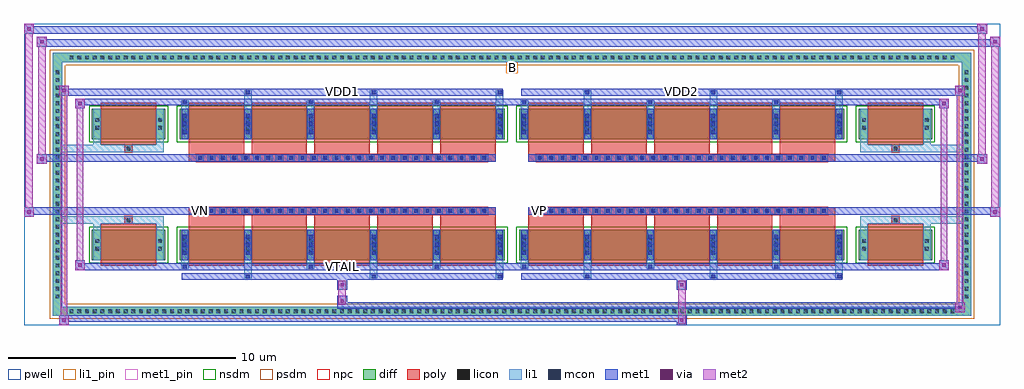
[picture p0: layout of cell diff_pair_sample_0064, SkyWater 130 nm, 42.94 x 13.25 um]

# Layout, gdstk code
import gdstk
lib = gdstk.Library(unit=1e-6, precision=5e-09)
def R(c, l, rs):  # rectangles x0, y0, x1, y1
    for r in rs: c.add(gdstk.rectangle(r[:2], r[2:], *l))
def A(c, l, x, y, w, h, nx, ny, dx, dy):  # array of equal rectangles
    R(c, l, [(x+i*dx, y+j*dy, x+i*dx+w, y+j*dy+h) for i in range(nx) for j in range(ny)])
def P(c, l, *ps):  # polygons
    for p in ps: c.add(gdstk.Polygon(p, *l))
pwell = (64, 44)
diff = (65, 20)
poly = (66, 20)
licon = (66, 44)
li1_pin = (67, 16)
li1 = (67, 20)
mcon = (67, 44)
met1_pin = (68, 16)
met1 = (68, 20)
via = (68, 44)
met2 = (69, 20)
nsdm = (93, 44)
psdm = (94, 20)
npc = (95, 20)

diff_pair_sample_0064 = lib.new_cell('diff_pair_sample_0064')
R(diff_pair_sample_0064, pwell, [(-21.47,-6.19,21.47,7.06), (-18.79,-4.38,-0.01,-0.8), (0.01,-4.38,18.79,-0.8), (-18.79,0.8,-0.01,4.38), (0.01,0.8,18.79,4.38)])
A(diff_pair_sample_0064, diff, -19.585, -5.79, 0.41, 0.41, 115, 2, 0.34, 11.17)
A(diff_pair_sample_0064, diff, -20.2, -5.135, 0.41, 0.41, 1, 30, 0, 0.34)
A(diff_pair_sample_0064, diff, 19.79, -5.135, 0.41, 0.41, 1, 30, 0, 0.34)
R(diff_pair_sample_0064, diff, [(-19.585,-5.79,19.585,-5.38), (-20.2,-5.135,-19.79,5.135), (19.79,-5.135,20.2,5.135), (-18.48,-3.335,-15.26,-1.985), (-14.62,-3.335,-0.32,-1.985), (0.32,-3.335,14.62,-1.985), (15.26,-3.335,18.48,-1.985), (-18.48,1.985,-15.26,3.335), (-14.62,1.985,-0.32,3.335), (0.32,1.985,14.62,3.335), (15.26,1.985,18.48,3.335), (-19.585,5.38,19.585,5.79)])
P(diff_pair_sample_0064, diff, [(20.2,5.79),(-20.2,5.79),(-20.2,-5.38),(-19.79,-5.38),(-19.79,5.38),(19.79,5.38),(19.79,-5.38),(-19.79,-5.38),(-20.2,-5.38),(-20.2,-5.79),(20.2,-5.79)])
A(diff_pair_sample_0064, poly, -14.23, -3.585, 2.44, 1.85, 5, 2, 2.77, 5.32)
A(diff_pair_sample_0064, poly, 0.71, -3.585, 2.44, 1.85, 5, 2, 2.77, 5.32)
A(diff_pair_sample_0064, poly, -14.23, -1.735, 2.44, 0.405, 5, 2, 2.77, 3.065)
A(diff_pair_sample_0064, poly, 0.71, -1.735, 2.44, 0.405, 5, 2, 2.77, 3.065)
A(diff_pair_sample_0064, poly, -13.885, -1.33, 0.33, 0.33, 26, 2, 0.5, 2.33)
A(diff_pair_sample_0064, poly, 1.055, -1.33, 0.33, 0.33, 26, 2, 0.5, 2.33)
R(diff_pair_sample_0064, poly, [(-18.09,-3.585,-15.65,-1.735), (15.65,-3.585,18.09,-1.735), (-17.035,-1.735,-16.705,-1.405), (-17.035,-1.735,-16.705,-1.405), (16.705,-1.735,17.035,-1.405), (16.705,-1.735,17.035,-1.405), (-14.23,-1.33,-0.71,-1), (0.71,-1.33,14.23,-1), (-14.23,1,-0.71,1.33), (0.71,1,14.23,1.33), (-17.035,1.405,-16.705,1.735), (-17.035,1.405,-16.705,1.735), (16.705,1.405,17.035,1.735), (16.705,1.405,17.035,1.735), (-18.09,1.735,-15.65,3.585), (15.65,1.735,18.09,3.585)])
A(diff_pair_sample_0064, licon, -19.465, -5.67, 0.17, 0.17, 115, 2, 0.34, 11.17)
A(diff_pair_sample_0064, licon, -20.08, -5.015, 0.17, 0.17, 1, 30, 0, 0.34)
A(diff_pair_sample_0064, licon, 19.91, -5.015, 0.17, 0.17, 1, 30, 0, 0.34)
A(diff_pair_sample_0064, licon, -14.48, -2.915, 0.17, 0.17, 6, 2, 2.77, 0.34)
A(diff_pair_sample_0064, licon, 0.46, -2.915, 0.17, 0.17, 6, 2, 2.77, 0.34)
A(diff_pair_sample_0064, licon, -13.805, -1.25, 0.17, 0.17, 26, 2, 0.5, 2.33)
A(diff_pair_sample_0064, licon, 1.135, -1.25, 0.17, 0.17, 26, 2, 0.5, 2.33)
A(diff_pair_sample_0064, licon, -14.48, 2.405, 0.17, 0.17, 6, 2, 2.77, 0.34)
A(diff_pair_sample_0064, licon, 0.46, 2.405, 0.17, 0.17, 6, 2, 2.77, 0.34)
R(diff_pair_sample_0064, licon, [(-18.34,-2.915,-18.17,-2.745), (-15.57,-2.915,-15.4,-2.745), (15.4,-2.915,15.57,-2.745), (18.17,-2.915,18.34,-2.745), (-18.34,-2.575,-18.17,-2.405), (-15.57,-2.575,-15.4,-2.405), (15.4,-2.575,15.57,-2.405), (18.17,-2.575,18.34,-2.405), (-16.955,-1.655,-16.785,-1.485), (16.785,-1.655,16.955,-1.485), (-16.955,1.485,-16.785,1.655), (16.785,1.485,16.955,1.655), (-18.34,2.405,-18.17,2.575), (-15.57,2.405,-15.4,2.575), (15.4,2.405,15.57,2.575), (18.17,2.405,18.34,2.575), (-18.34,2.745,-18.17,2.915), (-15.57,2.745,-15.4,2.915), (15.4,2.745,15.57,2.915), (18.17,2.745,18.34,2.915)])
R(diff_pair_sample_0064, li1_pin, [(-0.25,4.88,0.25,5.38)])
A(diff_pair_sample_0064, li1, -19.545, -5.75, 0.33, 0.33, 115, 2, 0.34, 11.17)
A(diff_pair_sample_0064, li1, -20.16, -5.095, 0.33, 0.33, 1, 30, 0, 0.34)
A(diff_pair_sample_0064, li1, 19.83, -5.095, 0.33, 0.33, 1, 30, 0, 0.34)
A(diff_pair_sample_0064, li1, -11.79, -4.14, 0.33, 0.805, 3, 2, 5.54, 7.475)
A(diff_pair_sample_0064, li1, -11.71, -4.14, 0.17, 0.17, 3, 2, 5.54, 8.11)
A(diff_pair_sample_0064, li1, 3.15, -4.14, 0.33, 0.805, 3, 2, 5.54, 7.475)
A(diff_pair_sample_0064, li1, 3.23, -4.14, 0.17, 0.17, 3, 2, 5.54, 8.11)
A(diff_pair_sample_0064, li1, -14.56, -3.71, 0.33, 0.375, 3, 2, 5.54, 7.045)
A(diff_pair_sample_0064, li1, -14.48, -3.71, 0.17, 0.17, 3, 2, 5.54, 7.25)
A(diff_pair_sample_0064, li1, 0.38, -3.71, 0.33, 0.375, 3, 2, 5.54, 7.045)
A(diff_pair_sample_0064, li1, 0.46, -3.71, 0.17, 0.17, 3, 2, 5.54, 7.25)
A(diff_pair_sample_0064, li1, -14.56, -3.335, 0.33, 1.35, 6, 2, 2.77, 5.32)
A(diff_pair_sample_0064, li1, 0.38, -3.335, 0.33, 1.35, 6, 2, 2.77, 5.32)
A(diff_pair_sample_0064, li1, -14.48, -3.105, 0.17, 0.17, 6, 3, 2.77, 0.36)
A(diff_pair_sample_0064, li1, -14.48, -3.105, 0.17, 0.89, 6, 2, 2.77, 5.32)
A(diff_pair_sample_0064, li1, 0.46, -3.105, 0.17, 0.17, 6, 3, 2.77, 0.36)
A(diff_pair_sample_0064, li1, 0.46, -3.105, 0.17, 0.89, 6, 2, 2.77, 5.32)
A(diff_pair_sample_0064, li1, -14.56, -2.995, 0.33, 0.33, 6, 2, 2.77, 0.34)
A(diff_pair_sample_0064, li1, 0.38, -2.995, 0.33, 0.33, 6, 2, 2.77, 0.34)
A(diff_pair_sample_0064, li1, -13.885, -1.33, 0.33, 0.33, 26, 2, 0.5, 2.33)
A(diff_pair_sample_0064, li1, 1.055, -1.33, 0.33, 0.33, 26, 2, 0.5, 2.33)
A(diff_pair_sample_0064, li1, -14.48, 2.215, 0.17, 0.17, 6, 3, 2.77, 0.36)
A(diff_pair_sample_0064, li1, 0.46, 2.215, 0.17, 0.17, 6, 3, 2.77, 0.36)
A(diff_pair_sample_0064, li1, -14.56, 2.325, 0.33, 0.33, 6, 2, 2.77, 0.34)
A(diff_pair_sample_0064, li1, 0.38, 2.325, 0.33, 0.33, 6, 2, 2.77, 0.34)
R(diff_pair_sample_0064, li1, [(-20.2,-5.79,-19.79,-5.38), (-20.2,-5.79,-19.79,-5.38), (-19.79,-5.79,19.79,-5.38), (19.79,-5.79,20.2,-5.38), (19.79,-5.79,20.2,-5.38), (-20.2,-5.38,-19.79,5.38), (19.79,-5.38,20.2,5.38), (-18.42,-3.335,-18.09,-1.985), (-15.65,-3.335,-15.32,-1.985), (15.32,-3.335,15.65,-1.985), (18.09,-3.335,18.42,-1.985), (-18.42,-2.995,-18.09,-2.665), (-15.65,-2.995,-15.32,-2.665), (15.32,-2.995,15.65,-2.665), (18.09,-2.995,18.42,-2.665), (-18.42,-2.655,-18.09,-2.325), (-15.65,-2.655,-15.32,-2.325), (15.32,-2.655,15.65,-2.325), (18.09,-2.655,18.42,-2.325), (-18.42,-1.985,-18.09,-1.405), (-15.65,-1.985,-15.32,-1.405), (15.32,-1.985,15.65,-1.405), (18.09,-1.985,18.42,-1.405), (-20.2,-1.735,-17.035,-1.405), (-18.42,-1.735,-17.035,-1.405), (-17.035,-1.735,-16.705,-1.405), (-16.705,-1.735,-15.32,-1.405), (15.32,-1.735,16.705,-1.405), (16.705,-1.735,17.035,-1.405), (16.705,-1.735,20.2,-1.405), (17.035,-1.735,18.42,-1.405), (-20.2,1.405,-17.035,1.735), (-18.42,1.405,-17.035,1.735), (-18.42,1.405,-18.09,1.985), (-17.035,1.405,-16.705,1.735), (-16.705,1.405,-15.32,1.735), (-15.65,1.405,-15.32,1.985), (15.32,1.405,16.705,1.735), (15.32,1.405,15.65,1.985), (16.705,1.405,17.035,1.735), (16.705,1.405,20.2,1.735), (17.035,1.405,18.42,1.735), (18.09,1.405,18.42,1.985), (-18.42,1.985,-18.09,3.335), (-15.65,1.985,-15.32,3.335), (15.32,1.985,15.65,3.335), (18.09,1.985,18.42,3.335), (-18.42,2.325,-18.09,2.655), (-15.65,2.325,-15.32,2.655), (15.32,2.325,15.65,2.655), (18.09,2.325,18.42,2.655), (-18.42,2.665,-18.09,2.995), (-15.65,2.665,-15.32,2.995), (15.32,2.665,15.65,2.995), (18.09,2.665,18.42,2.995), (-20.2,5.38,-19.79,5.79), (-20.2,5.38,-19.79,5.79), (-19.79,5.38,19.79,5.79), (19.79,5.38,20.2,5.79), (19.79,5.38,20.2,5.79)])
A(diff_pair_sample_0064, mcon, -11.71, -4.14, 0.17, 0.17, 3, 2, 5.54, 8.11)
A(diff_pair_sample_0064, mcon, 3.23, -4.14, 0.17, 0.17, 3, 2, 5.54, 8.11)
A(diff_pair_sample_0064, mcon, -14.48, -3.71, 0.17, 0.17, 3, 2, 5.54, 7.25)
A(diff_pair_sample_0064, mcon, 0.46, -3.71, 0.17, 0.17, 3, 2, 5.54, 7.25)
A(diff_pair_sample_0064, mcon, -14.48, -3.105, 0.17, 0.17, 6, 3, 2.77, 0.36)
A(diff_pair_sample_0064, mcon, 0.46, -3.105, 0.17, 0.17, 6, 3, 2.77, 0.36)
A(diff_pair_sample_0064, mcon, -13.805, -1.25, 0.17, 0.17, 26, 2, 0.5, 2.33)
A(diff_pair_sample_0064, mcon, 1.135, -1.25, 0.17, 0.17, 26, 2, 0.5, 2.33)
A(diff_pair_sample_0064, mcon, -14.48, 2.215, 0.17, 0.17, 6, 3, 2.77, 0.36)
A(diff_pair_sample_0064, mcon, 0.46, 2.215, 0.17, 0.17, 6, 3, 2.77, 0.36)
R(diff_pair_sample_0064, met1_pin, [(-7.605,-3.75,-7.335,-3.48), (-13.855,-1.29,-13.585,-1.02), (1.085,-1.29,1.355,-1.02), (-7.605,3.93,-7.335,4.2), (7.335,3.93,7.605,4.2)])
A(diff_pair_sample_0064, met1, -11.77, -4.2, 0.29, 0.29, 3, 2, 5.54, 8.11)
A(diff_pair_sample_0064, met1, 3.17, -4.2, 0.29, 0.29, 3, 2, 5.54, 8.11)
A(diff_pair_sample_0064, met1, -14.54, -3.77, 0.29, 0.29, 3, 2, 5.54, 7.25)
A(diff_pair_sample_0064, met1, 0.4, -3.77, 0.29, 0.29, 3, 2, 5.54, 7.25)
A(diff_pair_sample_0064, met1, -14.54, -3.335, 0.29, 1.35, 6, 2, 2.77, 5.32)
A(diff_pair_sample_0064, met1, 0.4, -3.335, 0.29, 1.35, 6, 2, 2.77, 5.32)
A(diff_pair_sample_0064, met1, -14.54, -3.165, 0.29, 0.29, 6, 3, 2.77, 0.36)
A(diff_pair_sample_0064, met1, 0.4, -3.165, 0.29, 0.29, 6, 3, 2.77, 0.36)
A(diff_pair_sample_0064, met1, -13.865, -1.31, 0.29, 0.29, 26, 2, 0.5, 2.33)
A(diff_pair_sample_0064, met1, 1.075, -1.31, 0.29, 0.29, 26, 2, 0.5, 2.33)
A(diff_pair_sample_0064, met1, -14.54, 2.155, 0.29, 0.29, 6, 3, 2.77, 0.36)
A(diff_pair_sample_0064, met1, 0.4, 2.155, 0.29, 0.29, 6, 3, 2.77, 0.36)
R(diff_pair_sample_0064, met1, [(-19.93,-6.19,-19.5,-5.76), (7.255,-6.19,7.685,-5.76), (-19.93,-6.05,7.685,-5.76), (19.5,-5.62,19.93,-5.19), (-7.685,-5.48,19.93,-5.19), (-7.685,-5.34,-7.255,-4.91), (-7.685,-4.63,-7.255,-4.2), (7.255,-4.63,7.685,-4.2), (-14.54,-4.2,-0.4,-3.91), (0.4,-4.2,14.54,-3.91), (-19.22,-3.77,-18.79,-3.34), (-19.22,-3.77,-14.54,-3.48), (-14.54,-3.77,-0.4,-3.48), (-0.4,-3.77,0.4,-3.48), (0.4,-3.77,14.54,-3.48), (14.54,-3.77,19.22,-3.48), (18.79,-3.77,19.22,-3.34), (-21.47,-1.43,-21.04,-1), (21.04,-1.43,21.47,-1), (-21.47,-1.33,-0.71,-1), (-14.23,-1.33,-0.71,-1), (0.71,-1.33,14.23,-1), (0.71,-1.33,21.47,-1), (-20.9,0.9,-20.47,1.33), (20.47,0.9,20.9,1.33), (-20.9,1,-14.23,1.33), (-14.23,1,-0.71,1.33), (0.71,1,14.23,1.33), (14.23,1,20.9,1.33), (-19.22,3.34,-18.79,3.77), (18.79,3.34,19.22,3.77), (-19.22,3.48,-14.54,3.77), (-14.54,3.48,-0.4,3.77), (-0.4,3.48,0.4,3.77), (0.4,3.48,14.54,3.77), (14.54,3.48,19.22,3.77), (-19.93,3.91,-19.5,4.34), (-19.93,3.91,-14.54,4.2), (-14.54,3.91,-0.4,4.2), (0.4,3.91,14.54,4.2), (14.54,3.91,19.93,4.2), (19.5,3.91,19.93,4.34), (-20.9,6.06,-20.47,6.49), (-20.9,6.06,-18.79,6.39), (-18.79,6.06,18.79,6.39), (18.79,6.06,21.47,6.39), (21.04,6.06,21.47,6.49), (-21.47,6.63,-21.04,7.06), (-21.47,6.63,-18.79,6.96), (-18.79,6.63,18.79,6.96), (18.79,6.63,20.9,6.96), (20.47,6.63,20.9,7.06)])
R(diff_pair_sample_0064, via, [(-19.79,-6.05,-19.64,-5.9), (7.395,-6.05,7.545,-5.9), (19.64,-5.48,19.79,-5.33), (-7.545,-5.2,-7.395,-5.05), (-7.545,-4.49,-7.395,-4.34), (7.395,-4.49,7.545,-4.34), (-19.08,-3.63,-18.93,-3.48), (18.93,-3.63,19.08,-3.48), (-21.33,-1.29,-21.18,-1.14), (21.18,-1.29,21.33,-1.14), (-20.76,1.04,-20.61,1.19), (20.61,1.04,20.76,1.19), (-19.08,3.48,-18.93,3.63), (18.93,3.48,19.08,3.63), (-19.79,4.05,-19.64,4.2), (19.64,4.05,19.79,4.2), (-20.76,6.2,-20.61,6.35), (21.18,6.2,21.33,6.35), (-21.33,6.77,-21.18,6.92), (20.61,6.77,20.76,6.92)])
R(diff_pair_sample_0064, met2, [(-19.93,-6.19,-19.5,-5.76), (-19.86,-6.19,-19.57,4.34), (-19.57,-6.19,-19.5,-5.76), (-19.88,-6.14,-19.55,-5.81), (7.305,-6.14,7.635,-5.81), (7.305,-5.81,7.635,-4.58), (19.5,-5.62,19.93,-5.19), (19.57,-5.62,19.86,4.34), (19.86,-5.62,19.93,-5.19), (19.55,-5.57,19.88,-5.24), (-7.635,-5.29,-7.305,-4.96), (-7.635,-4.96,-7.305,-4.58), (-7.635,-4.58,-7.305,-4.25), (7.305,-4.58,7.635,-4.25), (-19.22,-3.77,-18.79,-3.34), (-19.15,-3.77,-18.86,3.77), (-18.86,-3.77,-18.79,-3.34), (18.79,-3.77,19.22,-3.34), (18.86,-3.77,19.15,3.77), (19.15,-3.77,19.22,-3.34), (-19.17,-3.72,-18.84,-3.39), (18.84,-3.72,19.17,-3.39), (-21.47,-1.43,-21.04,-1), (-21.42,-1.43,-21.09,7.06), (-21.09,-1.43,-21.04,-1), (21.04,-1.43,21.47,-1), (21.09,-1.43,21.42,6.49), (21.42,-1.43,21.47,-1), (-21.42,-1.38,-21.09,-1.05), (21.09,-1.38,21.42,-1.05), (-20.9,0.9,-20.47,1.33), (-20.85,0.9,-20.52,6.49), (-20.52,0.9,-20.47,1.33), (20.47,0.9,20.9,1.33), (20.52,0.9,20.85,7.06), (20.85,0.9,20.9,1.33), (-20.85,0.95,-20.52,1.28), (20.52,0.95,20.85,1.28), (-19.22,3.34,-18.79,3.77), (-18.86,3.34,-18.79,3.77), (18.79,3.34,19.22,3.77), (19.15,3.34,19.22,3.77), (-19.17,3.39,-18.84,3.72), (18.84,3.39,19.17,3.72), (-19.93,3.91,-19.5,4.34), (-19.57,3.91,-19.5,4.34), (19.5,3.91,19.93,4.34), (19.86,3.91,19.93,4.34), (-19.88,3.96,-19.55,4.29), (19.55,3.96,19.88,4.29), (-20.9,6.06,-20.47,6.49), (-20.52,6.06,-20.47,6.49), (21.04,6.06,21.47,6.49), (21.42,6.06,21.47,6.49), (-20.85,6.11,-20.52,6.44), (21.09,6.11,21.42,6.44), (-21.47,6.63,-21.04,7.06), (-21.09,6.63,-21.04,7.06), (20.47,6.63,20.9,7.06), (20.85,6.63,20.9,7.06), (-21.42,6.68,-21.09,7.01), (20.52,6.68,20.85,7.01)])
R(diff_pair_sample_0064, nsdm, [(-18.61,-3.465,-15.13,-1.855), (-14.75,-3.465,-0.19,-1.855), (0.19,-3.465,14.75,-1.855), (15.13,-3.465,18.61,-1.855), (-18.61,1.855,-15.13,3.465), (-14.75,1.855,-0.19,3.465), (0.19,1.855,14.75,3.465), (15.13,1.855,18.61,3.465)])
P(diff_pair_sample_0064, psdm, [(20.33,5.92),(-20.33,5.92),(-20.33,-5.25),(-19.66,-5.25),(-19.66,5.25),(19.66,5.25),(19.66,-5.25),(-19.66,-5.25),(-20.33,-5.25),(-20.33,-5.92),(20.33,-5.92)])
A(diff_pair_sample_0064, npc, -13.905, -1.35, 0.37, 0.37, 26, 2, 0.5, 2.33)
A(diff_pair_sample_0064, npc, 1.035, -1.35, 0.37, 0.37, 26, 2, 0.5, 2.33)
R(diff_pair_sample_0064, npc, [(-17.055,-1.755,-16.685,-1.385), (16.685,-1.755,17.055,-1.385), (-13.905,-1.35,-13.035,-0.98), (-13.905,-1.35,-13.035,-0.98), (-13.405,-1.35,-12.535,-0.98), (-13.405,-1.35,-12.535,-0.98), (-12.905,-1.35,-12.035,-0.98), (-12.905,-1.35,-12.035,-0.98), (-12.405,-1.35,-11.535,-0.98), (-12.405,-1.35,-11.535,-0.98), (-11.905,-1.35,-11.035,-0.98), (-11.905,-1.35,-11.035,-0.98), (-11.405,-1.35,-10.535,-0.98), (-11.405,-1.35,-10.535,-0.98), (-10.905,-1.35,-10.035,-0.98), (-10.905,-1.35,-10.035,-0.98), (-10.405,-1.35,-9.535,-0.98), (-10.405,-1.35,-9.535,-0.98), (-9.905,-1.35,-9.035,-0.98), (-9.905,-1.35,-9.035,-0.98), (-9.405,-1.35,-8.535,-0.98), (-9.405,-1.35,-8.535,-0.98), (-8.905,-1.35,-8.035,-0.98), (-8.905,-1.35,-8.035,-0.98), (-8.405,-1.35,-7.535,-0.98), (-8.405,-1.35,-7.535,-0.98), (-7.905,-1.35,-7.035,-0.98), (-7.905,-1.35,-7.035,-0.98), (-7.405,-1.35,-6.535,-0.98), (-7.405,-1.35,-6.535,-0.98), (-6.905,-1.35,-6.035,-0.98), (-6.905,-1.35,-6.035,-0.98), (-6.405,-1.35,-5.535,-0.98), (-6.405,-1.35,-5.535,-0.98), (-5.905,-1.35,-5.035,-0.98), (-5.905,-1.35,-5.035,-0.98), (-5.405,-1.35,-4.535,-0.98), (-5.405,-1.35,-4.535,-0.98), (-4.905,-1.35,-4.035,-0.98), (-4.905,-1.35,-4.035,-0.98), (-4.405,-1.35,-3.535,-0.98), (-4.405,-1.35,-3.535,-0.98), (-3.905,-1.35,-3.035,-0.98), (-3.905,-1.35,-3.035,-0.98), (-3.405,-1.35,-2.535,-0.98), (-3.405,-1.35,-2.535,-0.98), (-2.905,-1.35,-2.035,-0.98), (-2.905,-1.35,-2.035,-0.98), (-2.405,-1.35,-1.535,-0.98), (-2.405,-1.35,-1.535,-0.98), (-1.905,-1.35,-1.035,-0.98), (-1.905,-1.35,-1.035,-0.98), (1.035,-1.35,1.905,-0.98), (1.035,-1.35,1.905,-0.98), (1.535,-1.35,2.405,-0.98), (1.535,-1.35,2.405,-0.98), (2.035,-1.35,2.905,-0.98), (2.035,-1.35,2.905,-0.98), (2.535,-1.35,3.405,-0.98), (2.535,-1.35,3.405,-0.98), (3.035,-1.35,3.905,-0.98), (3.035,-1.35,3.905,-0.98), (3.535,-1.35,4.405,-0.98), (3.535,-1.35,4.405,-0.98), (4.035,-1.35,4.905,-0.98), (4.035,-1.35,4.905,-0.98), (4.535,-1.35,5.405,-0.98), (4.535,-1.35,5.405,-0.98), (5.035,-1.35,5.905,-0.98), (5.035,-1.35,5.905,-0.98), (5.535,-1.35,6.405,-0.98), (5.535,-1.35,6.405,-0.98), (6.035,-1.35,6.905,-0.98), (6.035,-1.35,6.905,-0.98), (6.535,-1.35,7.405,-0.98), (6.535,-1.35,7.405,-0.98), (7.035,-1.35,7.905,-0.98), (7.035,-1.35,7.905,-0.98), (7.535,-1.35,8.405,-0.98), (7.535,-1.35,8.405,-0.98), (8.035,-1.35,8.905,-0.98), (8.035,-1.35,8.905,-0.98), (8.535,-1.35,9.405,-0.98), (8.535,-1.35,9.405,-0.98), (9.035,-1.35,9.905,-0.98), (9.035,-1.35,9.905,-0.98), (9.535,-1.35,10.405,-0.98), (9.535,-1.35,10.405,-0.98), (10.035,-1.35,10.905,-0.98), (10.035,-1.35,10.905,-0.98), (10.535,-1.35,11.405,-0.98), (10.535,-1.35,11.405,-0.98), (11.035,-1.35,11.905,-0.98), (11.035,-1.35,11.905,-0.98), (11.535,-1.35,12.405,-0.98), (11.535,-1.35,12.405,-0.98), (12.035,-1.35,12.905,-0.98), (12.035,-1.35,12.905,-0.98), (12.535,-1.35,13.405,-0.98), (12.535,-1.35,13.405,-0.98), (13.035,-1.35,13.905,-0.98), (13.035,-1.35,13.905,-0.98), (-13.905,0.98,-13.035,1.35), (-13.905,0.98,-13.035,1.35), (-13.405,0.98,-12.535,1.35), (-13.405,0.98,-12.535,1.35), (-12.905,0.98,-12.035,1.35), (-12.905,0.98,-12.035,1.35), (-12.405,0.98,-11.535,1.35), (-12.405,0.98,-11.535,1.35), (-11.905,0.98,-11.035,1.35), (-11.905,0.98,-11.035,1.35), (-11.405,0.98,-10.535,1.35), (-11.405,0.98,-10.535,1.35), (-10.905,0.98,-10.035,1.35), (-10.905,0.98,-10.035,1.35), (-10.405,0.98,-9.535,1.35), (-10.405,0.98,-9.535,1.35), (-9.905,0.98,-9.035,1.35), (-9.905,0.98,-9.035,1.35), (-9.405,0.98,-8.535,1.35), (-9.405,0.98,-8.535,1.35), (-8.905,0.98,-8.035,1.35), (-8.905,0.98,-8.035,1.35), (-8.405,0.98,-7.535,1.35), (-8.405,0.98,-7.535,1.35), (-7.905,0.98,-7.035,1.35), (-7.905,0.98,-7.035,1.35), (-7.405,0.98,-6.535,1.35), (-7.405,0.98,-6.535,1.35), (-6.905,0.98,-6.035,1.35), (-6.905,0.98,-6.035,1.35), (-6.405,0.98,-5.535,1.35), (-6.405,0.98,-5.535,1.35), (-5.905,0.98,-5.035,1.35), (-5.905,0.98,-5.035,1.35), (-5.405,0.98,-4.535,1.35), (-5.405,0.98,-4.535,1.35), (-4.905,0.98,-4.035,1.35), (-4.905,0.98,-4.035,1.35), (-4.405,0.98,-3.535,1.35), (-4.405,0.98,-3.535,1.35), (-3.905,0.98,-3.035,1.35), (-3.905,0.98,-3.035,1.35), (-3.405,0.98,-2.535,1.35), (-3.405,0.98,-2.535,1.35), (-2.905,0.98,-2.035,1.35), (-2.905,0.98,-2.035,1.35), (-2.405,0.98,-1.535,1.35), (-2.405,0.98,-1.535,1.35), (-1.905,0.98,-1.035,1.35), (-1.905,0.98,-1.035,1.35), (1.035,0.98,1.905,1.35), (1.035,0.98,1.905,1.35), (1.535,0.98,2.405,1.35), (1.535,0.98,2.405,1.35), (2.035,0.98,2.905,1.35), (2.035,0.98,2.905,1.35), (2.535,0.98,3.405,1.35), (2.535,0.98,3.405,1.35), (3.035,0.98,3.905,1.35), (3.035,0.98,3.905,1.35), (3.535,0.98,4.405,1.35), (3.535,0.98,4.405,1.35), (4.035,0.98,4.905,1.35), (4.035,0.98,4.905,1.35), (4.535,0.98,5.405,1.35), (4.535,0.98,5.405,1.35), (5.035,0.98,5.905,1.35), (5.035,0.98,5.905,1.35), (5.535,0.98,6.405,1.35), (5.535,0.98,6.405,1.35), (6.035,0.98,6.905,1.35), (6.035,0.98,6.905,1.35), (6.535,0.98,7.405,1.35), (6.535,0.98,7.405,1.35), (7.035,0.98,7.905,1.35), (7.035,0.98,7.905,1.35), (7.535,0.98,8.405,1.35), (7.535,0.98,8.405,1.35), (8.035,0.98,8.905,1.35), (8.035,0.98,8.905,1.35), (8.535,0.98,9.405,1.35), (8.535,0.98,9.405,1.35), (9.035,0.98,9.905,1.35), (9.035,0.98,9.905,1.35), (9.535,0.98,10.405,1.35), (9.535,0.98,10.405,1.35), (10.035,0.98,10.905,1.35), (10.035,0.98,10.905,1.35), (10.535,0.98,11.405,1.35), (10.535,0.98,11.405,1.35), (11.035,0.98,11.905,1.35), (11.035,0.98,11.905,1.35), (11.535,0.98,12.405,1.35), (11.535,0.98,12.405,1.35), (12.035,0.98,12.905,1.35), (12.035,0.98,12.905,1.35), (12.535,0.98,13.405,1.35), (12.535,0.98,13.405,1.35), (13.035,0.98,13.905,1.35), (13.035,0.98,13.905,1.35), (-17.055,1.385,-16.685,1.755), (16.685,1.385,17.055,1.755)])
diff_pair_sample_0064.add(gdstk.Label('VTAIL', (-7.47,-3.615), layer=68, texttype=5))
diff_pair_sample_0064.add(gdstk.Label('VN', (-13.72,-1.155), layer=68, texttype=5))
diff_pair_sample_0064.add(gdstk.Label('VP', (1.22,-1.155), layer=68, texttype=5))
diff_pair_sample_0064.add(gdstk.Label('B', (0,5.13), layer=67, texttype=5))
diff_pair_sample_0064.add(gdstk.Label('VDD2', (7.47,4.065), layer=68, texttype=5))
diff_pair_sample_0064.add(gdstk.Label('VDD1', (-7.47,4.065), layer=68, texttype=5))

lib.write_gds('diff_pair_sample_0064.gds')
